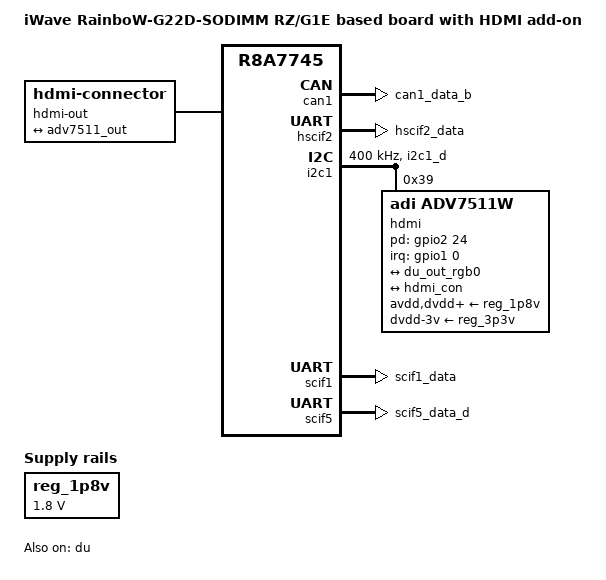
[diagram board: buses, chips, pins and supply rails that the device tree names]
// SPDX-License-Identifier: GPL-2.0
/*
 * Device Tree Source for the iWave-RZG1E SODIMM carrier board + HDMI daughter
 * board
 *
 * Copyright (C) 2017 Renesas Electronics Corp.
 */

#include "r8a7745-iwg22d-sodimm.dts"

/ {
	model = "iWave RainboW-G22D-SODIMM RZ/G1E based board with HDMI add-on";
	compatible = "iwave,g22d", "iwave,g22m", "renesas,r8a7745";

	aliases {
		serial0 = &scif1;
		serial4 = &scif5;
		serial6 = &hscif2;
	};

	cec_clock: cec-clock {
		compatible = "fixed-clock";
		#clock-cells = <0>;
		clock-frequency = <12000000>;
	};

	hdmi-out {
		compatible = "hdmi-connector";
		type = "a";

		port {
			hdmi_con: endpoint {
				remote-endpoint = <&adv7511_out>;
			};
		};
	};

	reg_1p8v: regulator-1p8v {
		compatible = "regulator-fixed";
		regulator-name = "1P8V";
		regulator-min-microvolt = <1800000>;
		regulator-max-microvolt = <1800000>;
		regulator-boot-on;
		regulator-always-on;
	};
};

&du {
	pinctrl-0 = <&du0_pins>;
	pinctrl-names = "default";

	status = "okay";

	ports {
		port@0 {
			endpoint {
				remote-endpoint = <&adv7511_in>;
			};
		};
	};
};

&can1 {
	pinctrl-0 = <&can1_pins>;
	pinctrl-names = "default";

	status = "okay";
};

&hscif2 {
	pinctrl-0 = <&hscif2_pins>;
	pinctrl-names = "default";

	status = "okay";
};

&i2c1 {
	pinctrl-0 = <&i2c1_pins>;
	pinctrl-names = "default";

	status = "okay";
	clock-frequency = <400000>;

	hdmi@39 {
		compatible = "adi,adv7511w";
		reg = <0x39>;
		interrupt-parent = <&gpio1>;
		interrupts = <0 IRQ_TYPE_LEVEL_LOW>;
		clocks = <&cec_clock>;
		clock-names = "cec";
		pd-gpios = <&gpio2 24 GPIO_ACTIVE_HIGH>;

		avdd-supply = <&reg_1p8v>;
		dvdd-supply = <&reg_1p8v>;
		pvdd-supply = <&reg_1p8v>;
		dvdd-3v-supply = <&reg_3p3v>;
		bgvdd-supply = <&reg_1p8v>;

		adi,input-depth = <8>;
		adi,input-colorspace = "rgb";
		adi,input-clock = "1x";

		ports {
			#address-cells = <1>;
			#size-cells = <0>;

			port@0 {
				reg = <0>;
				adv7511_in: endpoint {
					remote-endpoint = <&du_out_rgb0>;
				};
			};

			port@1 {
				reg = <1>;
				adv7511_out: endpoint {
					remote-endpoint = <&hdmi_con>;
				};
			};
		};
	};
};

&lcd_panel {
	status = "disabled";

	/delete-node/ port;
};

&pfc {
	can1_pins: can1 {
		groups = "can1_data_b";
		function = "can1";
	};

	du0_pins: du0 {
		groups = "du0_rgb888", "du0_sync", "du0_disp", "du0_clk0_out";
		function = "du0";
	};

	hscif2_pins: hscif2 {
		groups = "hscif2_data";
		function = "hscif2";
	};

	i2c1_pins: i2c1 {
		groups = "i2c1_d";
		function = "i2c1";
	};

	scif1_pins: scif1 {
		groups = "scif1_data";
		function = "scif1";
	};

	scif5_pins: scif5 {
		groups = "scif5_data_d";
		function = "scif5";
	};
};

&scif1 {
	pinctrl-0 = <&scif1_pins>;
	pinctrl-names = "default";

	status = "okay";
};

&scif5 {
	pinctrl-0 = <&scif5_pins>;
	pinctrl-names = "default";

	status = "okay";
};
